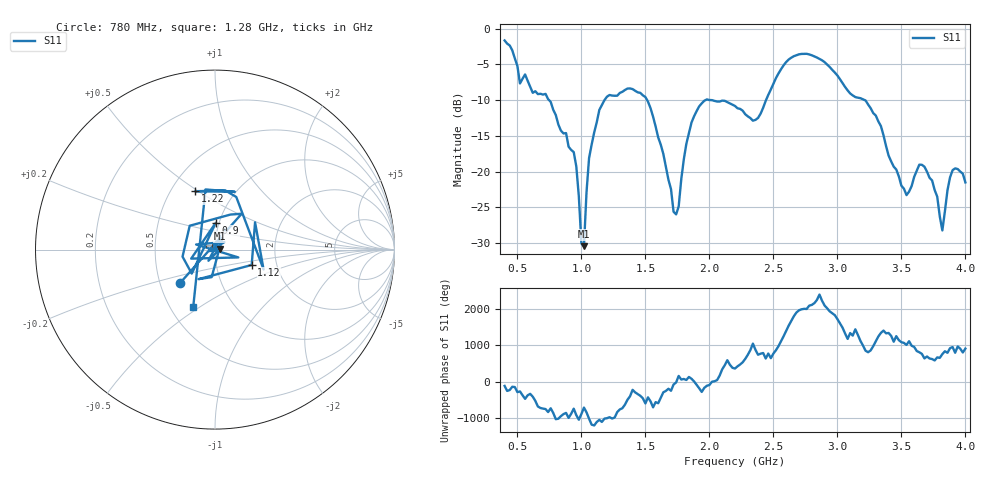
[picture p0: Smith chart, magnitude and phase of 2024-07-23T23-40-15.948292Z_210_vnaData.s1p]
!Created with skrf (http://scikit-rf.org).
# Hz S RI R 50.0
!freq ReS11 ImS11
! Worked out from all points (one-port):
!   181 points, 400 MHz to 4 GHz, reference 50 ohm
!   lowest |S11| = -30.4 dB at 1.02 GHz (marker M1), VSWR 1.06, Z = 53 + j0.644 ohm
!   |S11| at or under -10 dB: 747.3 MHz to 1.18 GHz (432.8 MHz wide, 44.9 % of centre); 1.514 GHz to 1.969 GHz (455.6 MHz wide, 26.2 % of centre); 3.214 GHz to end of sweep (the widest 3 of 4)
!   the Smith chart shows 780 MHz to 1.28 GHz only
!   S11 on the Smith chart (normalised r, x): 780 MHz: 0.63, -0.26; 900 MHz: 0.96, +0.29; 1.12 GHz: 1.48, -0.27; 1.22 GHz: 0.66, +0.49; 1.28 GHz: 0.65, -0.47
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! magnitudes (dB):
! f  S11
! 400 MHz  -1.7
! 520 MHz  -7.7
! 780 MHz  -11.3
! 860 MHz  -14.7
! 900 MHz  -16.5
! 960 MHz  -19.3
! 1 GHz  -30.1
! 1.02 GHz  -30.4
! 1.06 GHz  -18.1
! 1.12 GHz  -13.1
! 1.22 GHz  -9.3
! 1.28 GHz  -9.4
! 1.3 GHz  -9.0
! 1.52 GHz  -10.2
! 1.72 GHz  -25.6
! 1.76 GHz  -24.9
! 1.82 GHz  -16.1
! 1.92 GHz  -10.9
! 2.2 GHz  -10.8
! 2.38 GHz  -12.5
! 2.66 GHz  -3.9
! 3.1 GHz  -9.1
! 3.3 GHz  -12.2
! 3.56 GHz  -22.8
! 3.68 GHz  -19.3
! 3.82 GHz  -28.2
! 3.9 GHz  -19.8
! 4 GHz  -21.5
